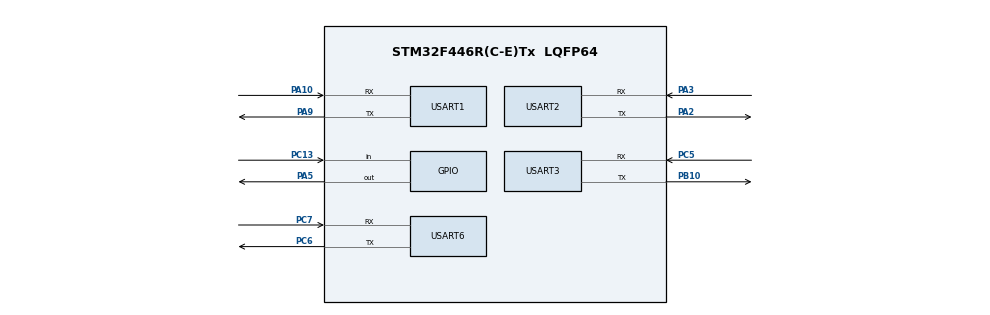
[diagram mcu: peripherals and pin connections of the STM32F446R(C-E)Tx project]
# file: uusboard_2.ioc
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Mcu.Family=STM32F4
Mcu.Name=STM32F446R(C-E)Tx
Mcu.Package=LQFP64
NVIC.PriorityGroup=NVIC_PRIORITYGROUP_4
NVIC.USART1_IRQn=true\:0\:0\:false\:false\:true
NVIC.USART3_IRQn=true\:0\:0\:false\:false\:true
PA10.Mode=Asynchronous
PA10.Signal=USART1_RX
PA2.Mode=Asynchronous
PA2.Signal=USART2_TX
PA3.Mode=Asynchronous
PA3.Signal=USART2_RX
PA5.Signal=GPIO_Output
PA9.Mode=Asynchronous
PA9.Signal=USART1_TX
PB10.Mode=Asynchronous
PB10.Signal=USART3_TX
PC13.Signal=GPIO_Input
PC5.Mode=Asynchronous
PC5.Signal=USART3_RX
PC6.Mode=Asynchronous
PC6.Signal=USART6_TX
PC7.Mode=Asynchronous
PC7.Signal=USART6_RX
ProjectManager.HeapSize=0x200
ProjectManager.StackSize=0x400
ProjectManager.TargetToolchain=MDK-ARM V5
RCC.CortexFreq_Value=16000000
RCC.USBFreq_Value=96000000
RCC.VCOOutputFreq_Value=192000000
board=uusboard_2

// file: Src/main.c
/**
  ******************************************************************************
  * File Name          : main.c
  * Description        : Main program body
  ******************************************************************************
  *
  * COPYRIGHT(c) 2017 STMicroelectronics
  *
  * Redistribution and use in source and binary forms, with or without modification,
  * are permitted provided that the following conditions are met:
  *   1. Redistributions of source code must retain the above copyright notice,
  *      this list of conditions and the following disclaimer.
  *   2. Redistributions in binary form must reproduce the above copyright notice,
  *      this list of conditions and the following disclaimer in the documentation
  *      and/or other materials provided with the distribution.
  *   3. Neither the name of STMicroelectronics nor the names of its contributors
  *      may be used to endorse or promote products derived from this software
  *      without specific prior written permission.
  *
  * THIS SOFTWARE IS PROVIDED BY THE COPYRIGHT HOLDERS AND CONTRIBUTORS "AS IS"
  * AND ANY EXPRESS OR IMPLIED WARRANTIES, INCLUDING, BUT NOT LIMITED TO, THE
  * IMPLIED WARRANTIES OF MERCHANTABILITY AND FITNESS FOR A PARTICULAR PURPOSE ARE
  * DISCLAIMED. IN NO EVENT SHALL THE COPYRIGHT HOLDER OR CONTRIBUTORS BE LIABLE
  * FOR ANY DIRECT, INDIRECT, INCIDENTAL, SPECIAL, EXEMPLARY, OR CONSEQUENTIAL
  * DAMAGES (INCLUDING, BUT NOT LIMITED TO, PROCUREMENT OF SUBSTITUTE GOODS OR
  * SERVICES; LOSS OF USE, DATA, OR PROFITS; OR BUSINESS INTERRUPTION) HOWEVER
  * CAUSED AND ON ANY THEORY OF LIABILITY, WHETHER IN CONTRACT, STRICT LIABILITY,
  * OR TORT (INCLUDING NEGLIGENCE OR OTHERWISE) ARISING IN ANY WAY OUT OF THE USE
  * OF THIS SOFTWARE, EVEN IF ADVISED OF THE POSSIBILITY OF SUCH DAMAGE.
  *
  ******************************************************************************
  */
#include "main.h"
#include "stm32f4xx_hal.h"

/* USER CODE BEGIN Includes */
#include "registers.h"
#include "stdbool.h"
#include "stm32f4xx_it.h"

/* USER CODE END Includes */

UART_HandleTypeDef huart1;
UART_HandleTypeDef huart2;
UART_HandleTypeDef huart3;
UART_HandleTypeDef huart6;

/* USER CODE BEGIN PV */
/* Private variables ---------------------------------------------------------*/
uint8_t CONFIG_temp_UnitSelection[5], CONFIG_temp_SourceSelection[5], CONFIG_Mode_Configuration[5], CONFIG_Mode_Accelerometer_Only[5], CONFIG_Mode_Magnetometer_Only[5], CONFIG_Mode_Gyroscope_Only[5], CONFIG_Mode_Accelerometer_Magnetometer[5], CONFIG_Mode_Accelerometer_Gyroscope[5];
uint8_t CONFIG_configurationPage_ID_0[5], CONFIG_configurationPage_ID_1[5], CONFIG_Mode_Magnetometer_Gyroscope[5], CONFIG_Mode_Accelerometer_Magnetometer_Gyroscope[5], CONFIG_Mode_Inertial_Measurement_Unit[5], CONFIG_Mode_Compass[5], CONFIG_Mode_Magnet_For_Compass[5], CONFIG_Mode_NDOF_FMC_OFF[5], CONFIG_Mode_NDOF[5];
uint8_t CONFIG_register_Page_0[5], CONFIG_register_Page_1[5];
uint8_t receivedDataUART[2], receivedDataUARTBuffer [32], sendDataReadInfo[4], sendDataUARTBuffer[10];
uint8_t transferUartBuffer[64];
uint8_t readDataSingleReadBuffer[5], readDataSingleWriteBuffer[5], CONFIG_accel_RangeSelection[5];
uint8_t dataToSendToReadSingleRegister[5];
int16_t acc_1_Z, acc_1_Y, acc_1_X, acc_2_Z, acc_2_Y, acc_2_X = 0;
int isitworking, dataruined = 0;
uint8_t acc_1_Z_MSB, acc_1_Z_LSB, acc_1_Y_MSB, acc_1_Y_LSB, acc_1_X_MSB, acc_1_X_LSB;
uint8_t acc_2_Z_MSB, acc_2_Z_LSB, acc_2_Y_MSB, acc_2_Y_LSB, acc_2_X_MSB, acc_2_X_LSB;
int temperature, data = 0;
uint8_t OFFSET_Z_MSB, OFFSET_Z_LSB, OFFSET_Y_MSB, OFFSET_Y_LSB, OFFSET_X_MSB, OFFSET_X_LSB;
int acc_X_offset, acc_Y_offset, acc_Z_offset;
uint8_t acc_1_X_LSB_OFFSET, acc_1_X_MSB_OFFSET, acc_1_Y_LSB_OFFSET, acc_1_Y_MSB_OFFSET, acc_1_Z_LSB_OFFSET, acc_1_Z_MSB_OFFSET;
uint8_t acc_2_X_LSB_OFFSET, acc_2_X_MSB_OFFSET, acc_2_Y_LSB_OFFSET, acc_2_Y_MSB_OFFSET, acc_2_Z_LSB_OFFSET, acc_2_Z_MSB_OFFSET;
int howManySeconds;
int Data_getReadDataSingleRegister;
bool config_error = false;
bool accel_error = false;
bool configureAccelerometerOffset_ERROR = false;
int howManySecondsTheButtonHasBeenHeld = 0;
uint8_t readDataSingleReceiveBuffer[5];
int variable;
uint8_t variable_old[6];
uint8_t variable_new[6];

/* USER CODE END PV */

void SystemClock_Config(void);
void Error_Handler(void);
static void MX_GPIO_Init(void);
static void MX_USART1_UART_Init(void);
static void MX_USART2_UART_Init(void);
static void MX_USART3_UART_Init(void);
static void MX_USART6_UART_Init(void);

/* USER CODE BEGIN PFP */
/* Private function prototypes -----------------------------------------------*/
#ifdef __GNUC__
	#define PUTCHAR_PROTOTYPE int __io_putchar (int ch)
#else
	#define PUTCHAR_PROTOTYPE int fputc(int ch, FILE *f)
#endif
/* USER CODE END PFP */

/* USER CODE BEGIN 0 */
PUTCHAR_PROTOTYPE{
	HAL_UART_Transmit(&huart2, (uint8_t *)&ch, 1, 0xFFFF);
	return ch;
}
void initUARTBuffer(){
	for (int i = 0; i <= 10; i++){
		sendDataUARTBuffer      [i] = 0x00;
	}

	for (int i = 0; i<= 2; i++){
		receivedDataUART  [i] = 0x00;
	}
}
bool setSingleRegister(UART_HandleTypeDef *huart, uint8_t dataToSend, uint8_t registerToSend ){
	bool error = false;
	int datareceive = 0;
  byte_received = 0;
	initUARTBuffer();

	sendDataUARTBuffer[0] = UART_START_BYTE;
	sendDataUARTBuffer[1] = UART_WRITE;
	sendDataUARTBuffer[2] = registerToSend;
	sendDataUARTBuffer[3] = 0x01;
	sendDataUARTBuffer[4] = dataToSend;

	HAL_UART_Transmit(huart, sendDataUARTBuffer, 5, 200);
    while (byte_received == 0){
        if (datareceive == 0){
            HAL_UART_Receive_IT(huart, receivedDataUART, 2);
            datareceive =1;
        }
    }
    if (receivedDataUART[0] == 0xEE && receivedDataUART[1] != 0x01){
        HAL_UART_Abort(huart);
        error = true;
    }
    if (byte_received == 1 && receivedDataUART[1] != 0xEE && receivedDataUART[1] !=0x00 && receivedDataUART[1] !=0x03){
        error = false;
    }

	return error;
}
int  readSingleRegister(UART_HandleTypeDef *huart, uint8_t registerToRead){
	byte_received = 0;
	int datareceive = 0;
	int data;

	dataToSendToReadSingleRegister [0] = UART_START_BYTE;
	dataToSendToReadSingleRegister [1] = UART_READ;
	dataToSendToReadSingleRegister [2] = registerToRead;
	dataToSendToReadSingleRegister [3] = 0x01;

	HAL_UART_Transmit(huart, dataToSendToReadSingleRegister, 4, 200);

	receivedDataUARTBuffer[0] = 0x00;
	receivedDataUARTBuffer[1] = 0x00;
	receivedDataUARTBuffer[2] = 0x00;

	while (byte_received == 0){
		if (datareceive == 0){
			HAL_UART_Receive_IT(huart, receivedDataUARTBuffer, 3);
			datareceive =1;
		}
		if (byte_received_time >= 1000){
			HAL_UART_Abort(huart);
			byte_received = 1;
			data = 999;
			return data;
		}
		if (receivedDataUARTBuffer[0] == 0xEE){
			HAL_UART_Abort(huart);
			byte_received = 1;
			data = 999;
			return data;
		}
		if (byte_received == 1){
			data = receivedDataUARTBuffer[2];
		}
	}

return data;
}
bool getWriteResonseData(UART_HandleTypeDef *huart){
	bool error      = false;
	byte_received   = 0;
	int datareceive = 0;

	receivedDataUART[0] = 0x00;
	receivedDataUART[1] = 0x00;

	while (byte_received == 0){
		if (datareceive == 0){
			HAL_UART_Receive_IT(huart, receivedDataUART, 2);
			datareceive = 1;
		}
	}
	if (receivedDataUART[0] == 0xEE && receivedDataUART[1] != 0x01){
		HAL_UART_Abort(huart);
		byte_received = 1;
		error = true;
		return error;
	}

 return error;
}
bool setRegisterMapPage_0(UART_HandleTypeDef *huart){
	bool error             = false;

	sendDataUARTBuffer [0] = UART_START_BYTE;
	sendDataUARTBuffer [1] = UART_WRITE;
	sendDataUARTBuffer [2] = PAGE_ID_ADDR;
	sendDataUARTBuffer [3] = 0x01;
	sendDataUARTBuffer [4] = 0x00;

	HAL_UART_Transmit(huart, sendDataUARTBuffer, 5, 200);

	error = getWriteResonseData(huart);
	if (error == true){
		HAL_UART_Transmit(huart, sendDataUARTBuffer, 5, 200);
		error = getWriteResonseData(huart);
	}

	return error;
}
bool setRegisterMapPage_1(UART_HandleTypeDef *huart){
	bool error;

	sendDataUARTBuffer [0] = UART_START_BYTE;
	sendDataUARTBuffer [1] = UART_WRITE;
	sendDataUARTBuffer [2] = PAGE_ID_ADDR;
	sendDataUARTBuffer [3] = 0x01;
	sendDataUARTBuffer [4] = 0x01;

	HAL_UART_Transmit(huart, sendDataUARTBuffer, 5, 200);

	error = getWriteResonseData(huart);
	if (error == true){
		HAL_UART_Transmit(huart, sendDataUARTBuffer, 5, 200);
		error = getWriteResonseData(huart);
	}

	return error;
}
void initializeConfigurationVariables(){
	CONFIG_register_Page_0														[0] = UART_START_BYTE;
	CONFIG_register_Page_0														[1] = UART_WRITE;
	CONFIG_register_Page_0														[2] = PAGE_ID_ADDR;
	CONFIG_register_Page_0														[3] = 0x01;
	CONFIG_register_Page_0														[4] = 0x00;

	CONFIG_register_Page_1														[0] = UART_START_BYTE;
	CONFIG_register_Page_1														[1] = UART_WRITE;
	CONFIG_register_Page_1														[2] = PAGE_ID_ADDR;
	CONFIG_register_Page_1														[3] = 0x01;
	CONFIG_register_Page_1														[4] = 0x01;

	CONFIG_temp_UnitSelection													[0] = UART_START_BYTE;
	CONFIG_temp_UnitSelection													[1] = UART_WRITE;
	CONFIG_temp_UnitSelection													[2] = UNIT_SEL_ADDR;
	CONFIG_temp_UnitSelection													[3] = 0x01;
	CONFIG_temp_UnitSelection													[4] = 0x00;

	CONFIG_configurationPage_ID_0											[0] = UART_START_BYTE;
	CONFIG_configurationPage_ID_0											[1] = UART_WRITE;
	CONFIG_configurationPage_ID_0											[2] = PAGE_ID_ADDR;
	CONFIG_configurationPage_ID_0											[3] = 0x01;
	CONFIG_configurationPage_ID_0											[4] = 0x00;

	CONFIG_configurationPage_ID_1											[0] = UART_START_BYTE;
	CONFIG_configurationPage_ID_1											[1] = UART_WRITE;
	CONFIG_configurationPage_ID_1											[2] = PAGE_ID_ADDR;
	CONFIG_configurationPage_ID_1											[3] = 0x01;
	CONFIG_configurationPage_ID_1											[4] = 0x01;

	CONFIG_accel_RangeSelection       								[0] = UART_START_BYTE;
	CONFIG_accel_RangeSelection												[1] = UART_WRITE;
	CONFIG_accel_RangeSelection   								    [2] = ACCEL_CONFIG_ADDR;
	CONFIG_accel_RangeSelection       								[3] = 0x01;
	CONFIG_accel_RangeSelection      							 		[4] = 0x12;

	CONFIG_temp_SourceSelection      							 	  [0]  = UART_START_BYTE;
	CONFIG_temp_SourceSelection     							    [1]  = UART_WRITE;
	CONFIG_temp_SourceSelection       	  						[2]  = TEMP_SOURCE_ADDR;
	CONFIG_temp_SourceSelection     	    						[3]  = 0x01;
	CONFIG_temp_SourceSelection       	  						[4]  = 0x00;

	CONFIG_Mode_Configuration 												[0] = UART_START_BYTE;
	CONFIG_Mode_Configuration 												[1] = UART_WRITE;
	CONFIG_Mode_Configuration 												[2] = OPR_MODE_ADDR;
	CONFIG_Mode_Configuration 												[3] = 0x01;
	CONFIG_Mode_Configuration 												[4] = 0x00;

	CONFIG_Mode_Accelerometer_Only 										[0] = UART_START_BYTE;
	CONFIG_Mode_Accelerometer_Only 										[1] = UART_WRITE;
	CONFIG_Mode_Accelerometer_Only 										[2] = OPR_MODE_ADDR;
	CONFIG_Mode_Accelerometer_Only 										[3] = 0x01;
	CONFIG_Mode_Accelerometer_Only 										[4] = 0x01;

	CONFIG_Mode_Magnetometer_Only 										[0] = UART_START_BYTE;
	CONFIG_Mode_Magnetometer_Only 										[1] = UART_WRITE;
	CONFIG_Mode_Magnetometer_Only 										[2] = OPR_MODE_ADDR;
	CONFIG_Mode_Magnetometer_Only 										[3] = 0x01;
	CONFIG_Mode_Magnetometer_Only 										[4] = 0x02;

	CONFIG_Mode_Gyroscope_Only 												[0] = UART_START_BYTE;
	CONFIG_Mode_Gyroscope_Only 	 											[1] = UART_WRITE;
	CONFIG_Mode_Gyroscope_Only 	 											[2] = OPR_MODE_ADDR;
	CONFIG_Mode_Gyroscope_Only 	 											[3] = 0x01;
	CONFIG_Mode_Gyroscope_Only 	 											[4] = 0x03;

	CONFIG_Mode_Accelerometer_Magnetometer						[0] = UART_START_BYTE;
	CONFIG_Mode_Accelerometer_Magnetometer 						[1] = UART_WRITE;
	CONFIG_Mode_Accelerometer_Magnetometer 						[2] = OPR_MODE_ADDR;
	CONFIG_Mode_Accelerometer_Magnetometer 						[3] = 0x01;
	CONFIG_Mode_Accelerometer_Magnetometer 						[4] = 0x04;

	CONFIG_Mode_Accelerometer_Gyroscope 							[0] = UART_START_BYTE;
	CONFIG_Mode_Accelerometer_Gyroscope 						 	[1] = UART_WRITE;
	CONFIG_Mode_Accelerometer_Gyroscope 	 						[2] = OPR_MODE_ADDR;
	CONFIG_Mode_Accelerometer_Gyroscope 	 						[3] = 0x01;
	CONFIG_Mode_Accelerometer_Gyroscope						 	 	[4] = 0x05;

	CONFIG_Mode_Magnetometer_Gyroscope 								[0] = UART_START_BYTE;
	CONFIG_Mode_Magnetometer_Gyroscope 				 				[1] = UART_WRITE;
	CONFIG_Mode_Magnetometer_Gyroscope 				 				[2] = OPR_MODE_ADDR;
	CONFIG_Mode_Magnetometer_Gyroscope 				 				[3] = 0x01;
	CONFIG_Mode_Magnetometer_Gyroscope			 	 				[4] = 0x06;

	CONFIG_Mode_Accelerometer_Magnetometer_Gyroscope	[0] = UART_START_BYTE;
	CONFIG_Mode_Accelerometer_Magnetometer_Gyroscope 	[1] = UART_WRITE;
	CONFIG_Mode_Accelerometer_Magnetometer_Gyroscope 	[2] = OPR_MODE_ADDR;
	CONFIG_Mode_Accelerometer_Magnetometer_Gyroscope 	[3] = 0x01;
	CONFIG_Mode_Accelerometer_Magnetometer_Gyroscope 	[4] = 0x07;

	CONFIG_Mode_Inertial_Measurement_Unit 						[0] = UART_START_BYTE;
	CONFIG_Mode_Inertial_Measurement_Unit 	 					[1] = UART_WRITE;
	CONFIG_Mode_Inertial_Measurement_Unit 	 					[2] = OPR_MODE_ADDR;
	CONFIG_Mode_Inertial_Measurement_Unit 	 					[3] = 0x01;
	CONFIG_Mode_Inertial_Measurement_Unit 	 					[4] = 0x08;

	CONFIG_Mode_Compass 															[0] = UART_START_BYTE;
	CONFIG_Mode_Compass 			 												[1] = UART_WRITE;
	CONFIG_Mode_Compass											 			 		[2] = OPR_MODE_ADDR;
	CONFIG_Mode_Compass											 			 		[3] = 0x01;
	CONFIG_Mode_Compass											 			 		[4] = 0x09;

	CONFIG_Mode_Magnet_For_Compass			 							[0] = UART_START_BYTE;
	CONFIG_Mode_Magnet_For_Compass			 	 						[1] = UART_WRITE;
	CONFIG_Mode_Magnet_For_Compass			 	 						[2] = OPR_MODE_ADDR;
	CONFIG_Mode_Magnet_For_Compass			 	 						[3] = 0x01;
	CONFIG_Mode_Magnet_For_Compass			 	 						[4] = 0x0A;

	CONFIG_Mode_NDOF_FMC_OFF													[0] = UART_START_BYTE;
	CONFIG_Mode_NDOF_FMC_OFF 												 	[1] = UART_WRITE;
	CONFIG_Mode_NDOF_FMC_OFF											 	 	[2] = OPR_MODE_ADDR;
	CONFIG_Mode_NDOF_FMC_OFF											 	 	[3] = 0x01;
	CONFIG_Mode_NDOF_FMC_OFF											 	 	[4] = 0x0B;

	CONFIG_Mode_NDOF 																	[0] = UART_START_BYTE;
	CONFIG_Mode_NDOF																 	[1] = UART_WRITE;
	CONFIG_Mode_NDOF 																	[2] = OPR_MODE_ADDR;
	CONFIG_Mode_NDOF 																	[3] = 0x01;
	CONFIG_Mode_NDOF 																	[4] = 0x0C;

}
void printAccelData(){
	printf("1. X = %d, Y = %d, Z = %d || 2. X = X = %d, Y = %d, Z = %d \n", acc_1_X , acc_1_Y, acc_1_Z, acc_2_X, acc_2_Y, acc_2_Z);
}
void accDataConversion(){
	acc_1_X = (acc_1_X_MSB << 8) | acc_1_X_LSB;
	acc_1_Y = (acc_1_Y_MSB << 8) | acc_1_Y_LSB;
	acc_1_Z = (acc_1_Z_MSB << 8) | acc_1_Z_LSB;

	acc_2_X = (acc_2_X_MSB << 8) | acc_2_X_LSB;
	acc_2_Y = (acc_2_Y_MSB << 8) | acc_2_Y_LSB;
	acc_2_Z = (acc_2_Z_MSB << 8) | acc_2_Z_LSB;
}
void HAL_UART_RxCpltCallback (UART_HandleTypeDef *huart){
	byte_received = 1;
}

int  getReadData(UART_HandleTypeDef *huart){

	byte_received = 0;
	data			= 0;
	int datareceive = 0;

	receivedDataUARTBuffer[0] = 0x00;
	receivedDataUARTBuffer[1] = 0x00;
	receivedDataUARTBuffer[2] = 0x00;

	while (byte_received == 0){
		if (datareceive == 0){
			HAL_UART_Receive_IT(huart, receivedDataUARTBuffer, 3);
			datareceive =1;
		}
		if (receivedDataUARTBuffer[0] == 0xEE && receivedDataUARTBuffer[1] != 0x00){
			HAL_UART_Abort(huart);
			byte_received = 1;
			data = 999;
			return data;
		}
		if (byte_received == 1){
			data = receivedDataUARTBuffer[2];
		}
	}

 return data;
}

int  getTemperature(){

	int data = 0;
	sendDataReadInfo			 [0] = UART_START_BYTE;
	sendDataReadInfo			 [1] = UART_READ;
	sendDataReadInfo			 [2] = TEMP_ADDR;
	sendDataReadInfo			 [3] = 0x01;

	HAL_UART_Transmit	(&huart1, sendDataReadInfo, 4, 200);

	data = getReadData(&huart1);

	return data;
}
bool sendConfigurationSettings(UART_HandleTypeDef *huart, uint8_t *dataToSend, int howManyBytes, int delay) {
    byte_received   = 0;
    int datareceive = 0;
    bool data       = false;
    receivedDataUART [0] = 0x00;
    receivedDataUART [1] = 0x00;
	  byte_received_time_wait = 0;
    HAL_UART_Transmit(huart, dataToSend, howManyBytes, delay);
    while (byte_received == 0){
        if (datareceive == 0){
          HAL_UART_Receive_IT(huart, receivedDataUART, 2);
          datareceive = 1;
					byte_received_time_wait = 1;
        }
				if (byte_received_time >= 2000 && byte_received == 0){
					HAL_UART_Abort(huart);
					byte_received = 1;
					byte_received_time_wait = 0;
					data = true;
				}
    }
    if (receivedDataUART[0] == 0xEE && receivedDataUART[1] != 0x01){
        HAL_UART_Abort(huart);
        data = true;
    }
    if (byte_received == 1 && receivedDataUART[1] != 0xEE && receivedDataUART[1] !=0x00 && receivedDataUART[1] !=0x03){
        data = false;
		}

return data;
}
bool getAccelerometerData (UART_HandleTypeDef *huart){
	HAL_UART_Abort(huart);
	bool error = false;
 sendDataReadInfo    [0] = UART_START_BYTE;
 sendDataReadInfo    [1] = UART_READ;
 sendDataReadInfo    [2] = ACCEL_DATA_X_LSB_ADDR;
 sendDataReadInfo    [3] = 0x06;

 HAL_UART_Transmit(huart, sendDataReadInfo, 4,50);

 byte_received = 0;
 data   = 0;

 receivedDataUARTBuffer[0] = 0x00;
 receivedDataUARTBuffer[1] = 0x00;
 receivedDataUARTBuffer[2] = 0x00;

		HAL_UART_Receive_IT(huart, receivedDataUARTBuffer, 8);

while (byte_received == 0){
	if (receivedDataUARTBuffer[0] == 0xEE && receivedDataUARTBuffer[1] != 0x00){
		HAL_UART_Abort(huart);
		byte_received = 1;
		error = true;
		return error;
 }
}
if (byte_received == 1 && huart == &huart1){
	acc_1_X_LSB = receivedDataUARTBuffer[2];
	acc_1_X_MSB = receivedDataUARTBuffer[3];

	acc_1_Y_LSB = receivedDataUARTBuffer[4];
	acc_1_Y_MSB = receivedDataUARTBuffer[5];

	acc_1_Z_LSB = receivedDataUARTBuffer[6];
	acc_1_Z_MSB = receivedDataUARTBuffer[7];
 }

if (byte_received == 1 && huart == &huart3){
	acc_2_X_LSB = receivedDataUARTBuffer[2];
	acc_2_X_MSB = receivedDataUARTBuffer[3];

	acc_2_Y_LSB = receivedDataUARTBuffer[4];
	acc_2_Y_MSB = receivedDataUARTBuffer[5];

	acc_2_Z_LSB = receivedDataUARTBuffer[6];
	acc_2_Z_MSB = receivedDataUARTBuffer[7];
 }

 return error;

}
void initConfigurationSettings_Acc1(){
	if (config_error == false){
		if (config_error == false){
			config_error = sendConfigurationSettings(&huart1, CONFIG_Mode_Configuration, 5, 200);
		}
		if (config_error == false){
			config_error = setRegisterMapPage_0(&huart1);
		}
		if (config_error == false){
			acc_1_X_LSB_OFFSET = readSingleRegister(&huart1, ACCEL_OFFSET_X_LSB_ADDR);
			acc_1_X_MSB_OFFSET = readSingleRegister(&huart1, ACCEL_OFFSET_X_MSB_ADDR);

			acc_1_Y_LSB_OFFSET = readSingleRegister(&huart1, ACCEL_OFFSET_Y_LSB_ADDR);
			acc_1_Y_MSB_OFFSET = readSingleRegister(&huart1, ACCEL_OFFSET_Y_MSB_ADDR);

			acc_1_Z_LSB_OFFSET = readSingleRegister(&huart1, ACCEL_OFFSET_Z_LSB_ADDR);
			acc_1_Z_MSB_OFFSET = readSingleRegister(&huart1, ACCEL_OFFSET_Z_MSB_ADDR);
		}

		if (config_error == false){
			config_error = sendConfigurationSettings(&huart1, CONFIG_configurationPage_ID_1, 5, 200);
		}
		if (config_error == false){
			config_error = sendConfigurationSettings(&huart1, CONFIG_accel_RangeSelection, 5, 200);
		}
		if (config_error == false){
			config_error = sendConfigurationSettings(&huart1, CONFIG_configurationPage_ID_0, 5, 200);
		}
		if (config_error == false){
			config_error = setRegisterMapPage_1(&huart1);
		}
		data = readSingleRegister(&huart1, 0x08);
		if (config_error == false){
			config_error = setRegisterMapPage_0(&huart1);
		}
		if (config_error == false){
			config_error = sendConfigurationSettings(&huart1, CONFIG_Mode_Accelerometer_Only , 5, 200);
		}
	}
}
void initConfigurationSettings_Acc2(){
	if (config_error == false){
		if (config_error == false){
			config_error = sendConfigurationSettings(&huart3, CONFIG_Mode_Configuration, 5, 200);
		}
		if (config_error == false){
			config_error = sendConfigurationSettings(&huart3, CONFIG_configurationPage_ID_0, 5, 200);
		}
		if (config_error == false){
			acc_1_X_LSB_OFFSET = readSingleRegister(&huart3, ACCEL_OFFSET_X_LSB_ADDR);
			acc_1_X_MSB_OFFSET = readSingleRegister(&huart3, ACCEL_OFFSET_X_MSB_ADDR);

			acc_1_Y_LSB_OFFSET = readSingleRegister(&huart3, ACCEL_OFFSET_Y_LSB_ADDR);
			acc_1_Y_MSB_OFFSET = readSingleRegister(&huart3, ACCEL_OFFSET_Y_MSB_ADDR);

			acc_1_Z_LSB_OFFSET = readSingleRegister(&huart3, ACCEL_OFFSET_Z_LSB_ADDR);
			acc_1_Z_MSB_OFFSET = readSingleRegister(&huart3, ACCEL_OFFSET_Z_MSB_ADDR);
		}

		if (config_error == false){
			config_error = sendConfigurationSettings(&huart3, CONFIG_configurationPage_ID_1, 5, 200);
		}
		if (config_error == false){
			config_error = sendConfigurationSettings(&huart3, CONFIG_accel_RangeSelection, 5, 200);
		}
		if (config_error == false){
			config_error = sendConfigurationSettings(&huart3, CONFIG_configurationPage_ID_0, 5, 200);
		}
		if (config_error == false){
			config_error = setRegisterMapPage_1(&huart3);
		}
		data = readSingleRegister(&huart3, 0x08);
		if (config_error == false){
			config_error = setRegisterMapPage_0(&huart3);
		}
		if (config_error == false){
			config_error = sendConfigurationSettings(&huart3, CONFIG_Mode_Accelerometer_Only , 5, 200);
		}
	}
}
bool setAccelerometerOffset(UART_HandleTypeDef *huart){
	HAL_GPIO_WritePin(GPIOA, GPIO_PIN_5, GPIO_PIN_SET);
	bool hasXDataBeenReceived = false;
	bool hasYDataBeenReceived = false;
	bool hasZDataBeenReceived = false;
  bool error = false;
	bool hasAccelerometerBeenConfigured = false;
	HAL_Delay(2000);
	buttonState = HAL_GPIO_ReadPin(GPIOC, GPIO_PIN_13);
	receivedDataUART[0] = 0x00;
	receivedDataUART[1] = 0x00;

	//<BUTTON TOGGLE>
	while (hasAccelerometerBeenConfigured == false){
		TIME_FreeUse = 0;
		HAL_Delay(500);

		while (hasXDataBeenReceived == false){
			buttonState = HAL_GPIO_ReadPin(GPIOC, GPIO_PIN_13);

			if (TIME_FreeUse >= 1000){
				HAL_GPIO_TogglePin(GPIOA, GPIO_PIN_5);
				TIME_FreeUse = 0;
			}

			getAccelerometerData(huart);
			accDataConversion();
			printAccelData();

			if (buttonState == 0){
				OFFSET_X_LSB = acc_1_X_LSB;
				OFFSET_X_MSB = acc_1_X_MSB;
				hasXDataBeenReceived = true;
			}
		}
		HAL_Delay(500);

		while (hasYDataBeenReceived == false){
			buttonState = HAL_GPIO_ReadPin(GPIOC, GPIO_PIN_13);

			if (TIME_FreeUse >= 400){
				HAL_GPIO_TogglePin(GPIOA, GPIO_PIN_5);
				TIME_FreeUse = 0;
			}

			getAccelerometerData(huart);
			accDataConversion();
			printAccelData();

			if (buttonState == 0){
				OFFSET_Y_LSB = acc_1_Y_LSB;
				OFFSET_Y_MSB = acc_1_Y_MSB;
				hasYDataBeenReceived = true;
			}
		}
		HAL_Delay(500);

		while (hasZDataBeenReceived == false){
			buttonState = HAL_GPIO_ReadPin(GPIOC, GPIO_PIN_13);

			if (TIME_FreeUse >= 100){
				HAL_GPIO_TogglePin(GPIOA, GPIO_PIN_5);
				TIME_FreeUse = 0;
			}

			getAccelerometerData(huart);
			accDataConversion();
			printAccelData();

			if (buttonState == 0){
				OFFSET_Z_LSB = acc_1_Z_LSB;
				OFFSET_Z_MSB = acc_1_Z_MSB;
				hasZDataBeenReceived = true;
			}
		}

		if (hasXDataBeenReceived == true && hasYDataBeenReceived == true && hasZDataBeenReceived == true){
			hasAccelerometerBeenConfigured = true;
		}

	}

	//</BUTTON TOGGLE>

	error = setRegisterMapPage_0(&huart1);
	error = setSingleRegister(&huart1, 0x00, OPR_MODE_ADDR);

	sendDataUARTBuffer[0] = UART_START_BYTE;
	sendDataUARTBuffer[1] = UART_WRITE;
	sendDataUARTBuffer[2] = ACCEL_OFFSET_X_LSB_ADDR;
	sendDataUARTBuffer[3] = 0x06;
	sendDataUARTBuffer[4] = OFFSET_X_LSB;
	sendDataUARTBuffer[5] = OFFSET_X_MSB;
	sendDataUARTBuffer[6] = OFFSET_Y_LSB;
	sendDataUARTBuffer[7] = OFFSET_Y_MSB;
	sendDataUARTBuffer[8] = OFFSET_Z_LSB;
	sendDataUARTBuffer[9] = OFFSET_Z_MSB;

	error = sendConfigurationSettings(huart, sendDataUARTBuffer, 10, 200);
	HAL_Delay(1000);
	error = sendConfigurationSettings(huart, CONFIG_Mode_Accelerometer_Only, 5, 200);
	HAL_Delay(1000);

	return error;
}

/* USER CODE END 0 */

int main(void)
{

  /* USER CODE BEGIN 1 */
	initializeConfigurationVariables();
  /* USER CODE END 1 */

  /* MCU Configuration----------------------------------------------------------*/

  /* Reset of all peripherals, Initializes the Flash interface and the Systick. */
  HAL_Init();

  /* Configure the system clock */
  SystemClock_Config();

  /* Initialize all configured peripherals */
  MX_GPIO_Init();
  MX_USART1_UART_Init();
  MX_USART2_UART_Init();
  MX_USART3_UART_Init();
  MX_USART6_UART_Init();

  /* USER CODE BEGIN 2 */
	//CONFIGURATION SETTINGS
	HAL_Delay(1000);
	initConfigurationSettings_Acc1();
	initConfigurationSettings_Acc2();
	HAL_Delay(500);

	//If there was an error during configuration, LD2 will be lit.
	if (config_error == true){
		HAL_GPIO_WritePin(GPIOA, GPIO_PIN_5, GPIO_PIN_SET);
	}

  /* USER CODE END 2 */

  /* Infinite loop */
  /* USER CODE BEGIN WHILE */
  howManyMilliSeconds = 0;
	howManyMilliSecondsTheButtonHasBeenHeld = 0;

	while (1)
  {
  /* USER CODE END WHILE */

  /* USER CODE BEGIN 3 */
	//temperature  = getTemperature();
	accel_error  = getAccelerometerData(&huart1);
	if (accel_error == false){
		accel_error = getAccelerometerData(&huart3);
	}

	dataruined = 0;

	if (accel_error == false ){
		accDataConversion();
	}
  else {
		dataruined = 1;
	}

	buttonState = HAL_GPIO_ReadPin(GPIOC, GPIO_PIN_13);

	printAccelData();
	isitworking++;

	howManySeconds = (howManyMilliSeconds / 1000);

  howManySecondsTheButtonHasBeenHeld = 	howManyMilliSecondsTheButtonHasBeenHeld / 1000;

	if (howManySecondsTheButtonHasBeenHeld >= 5){
		configureAccelerometerOffset_ERROR = setAccelerometerOffset(&huart1);
	}
	else{
		HAL_GPIO_WritePin(GPIOA, GPIO_PIN_5, GPIO_PIN_RESET);
	}
}
  /* USER CODE END 3 */

}

/** System Clock Configuration
*/
void SystemClock_Config(void)
{

  RCC_OscInitTypeDef RCC_OscInitStruct;
  RCC_ClkInitTypeDef RCC_ClkInitStruct;

    /**Configure the main internal regulator output voltage
    */
  __HAL_RCC_PWR_CLK_ENABLE();

  __HAL_PWR_VOLTAGESCALING_CONFIG(PWR_REGULATOR_VOLTAGE_SCALE3);

    /**Initializes the CPU, AHB and APB busses clocks
    */
  RCC_OscInitStruct.OscillatorType = RCC_OSCILLATORTYPE_HSI;
  RCC_OscInitStruct.HSIState = RCC_HSI_ON;
  RCC_OscInitStruct.HSICalibrationValue = 16;
  RCC_OscInitStruct.PLL.PLLState = RCC_PLL_NONE;
  if (HAL_RCC_OscConfig(&RCC_OscInitStruct) != HAL_OK)
  {
    Error_Handler();
  }

    /**Initializes the CPU, AHB and APB busses clocks
    */
  RCC_ClkInitStruct.ClockType = RCC_CLOCKTYPE_HCLK|RCC_CLOCKTYPE_SYSCLK
                              |RCC_CLOCKTYPE_PCLK1|RCC_CLOCKTYPE_PCLK2;
  RCC_ClkInitStruct.SYSCLKSource = RCC_SYSCLKSOURCE_HSI;
  RCC_ClkInitStruct.AHBCLKDivider = RCC_SYSCLK_DIV1;
  RCC_ClkInitStruct.APB1CLKDivider = RCC_HCLK_DIV1;
  RCC_ClkInitStruct.APB2CLKDivider = RCC_HCLK_DIV1;

  if (HAL_RCC_ClockConfig(&RCC_ClkInitStruct, FLASH_LATENCY_0) != HAL_OK)
  {
    Error_Handler();
  }

    /**Configure the Systick interrupt time
    */
  HAL_SYSTICK_Config(HAL_RCC_GetHCLKFreq()/1000);

    /**Configure the Systick
    */
  HAL_SYSTICK_CLKSourceConfig(SYSTICK_CLKSOURCE_HCLK);

  /* SysTick_IRQn interrupt configuration */
  HAL_NVIC_SetPriority(SysTick_IRQn, 0, 0);
}

/* USART1 init function */
static void MX_USART1_UART_Init(void)
{

  huart1.Instance = USART1;
  huart1.Init.BaudRate = 115200;
  huart1.Init.WordLength = UART_WORDLENGTH_8B;
  huart1.Init.StopBits = UART_STOPBITS_1;
  huart1.Init.Parity = UART_PARITY_NONE;
  huart1.Init.Mode = UART_MODE_TX_RX;
  huart1.Init.HwFlowCtl = UART_HWCONTROL_NONE;
  huart1.Init.OverSampling = UART_OVERSAMPLING_16;
  if (HAL_UART_Init(&huart1) != HAL_OK)
  {
    Error_Handler();
  }

}

/* USART2 init function */
static void MX_USART2_UART_Init(void)
{

  huart2.Instance = USART2;
  huart2.Init.BaudRate = 115200;
  huart2.Init.WordLength = UART_WORDLENGTH_8B;
  huart2.Init.StopBits = UART_STOPBITS_1;
  huart2.Init.Parity = UART_PARITY_NONE;
  huart2.Init.Mode = UART_MODE_TX_RX;
  huart2.Init.HwFlowCtl = UART_HWCONTROL_NONE;
  huart2.Init.OverSampling = UART_OVERSAMPLING_16;
  if (HAL_UART_Init(&huart2) != HAL_OK)
  {
    Error_Handler();
  }

}

/* USART3 init function */
static void MX_USART3_UART_Init(void)
{

  huart3.Instance = USART3;
  huart3.Init.BaudRate = 115200;
  huart3.Init.WordLength = UART_WORDLENGTH_8B;
  huart3.Init.StopBits = UART_STOPBITS_1;
  huart3.Init.Parity = UART_PARITY_NONE;
  huart3.Init.Mode = UART_MODE_TX_RX;
  huart3.Init.HwFlowCtl = UART_HWCONTROL_NONE;
  huart3.Init.OverSampling = UART_OVERSAMPLING_16;
  if (HAL_UART_Init(&huart3) != HAL_OK)
  {
    Error_Handler();
  }

}

/* USART6 init function */
static void MX_USART6_UART_Init(void)
{

  huart6.Instance = USART6;
  huart6.Init.BaudRate = 115200;
  huart6.Init.WordLength = UART_WORDLENGTH_8B;
  huart6.Init.StopBits = UART_STOPBITS_1;
  huart6.Init.Parity = UART_PARITY_NONE;
  huart6.Init.Mode = UART_MODE_TX_RX;
  huart6.Init.HwFlowCtl = UART_HWCONTROL_NONE;
  huart6.Init.OverSampling = UART_OVERSAMPLING_16;
  if (HAL_UART_Init(&huart6) != HAL_OK)
  {
    Error_Handler();
  }

}

/** Configure pins as
        * Analog
        * Input
        * Output
        * EVENT_OUT
        * EXTI
*/
static void MX_GPIO_Init(void)
{

  GPIO_InitTypeDef GPIO_InitStruct;

  /* GPIO Ports Clock Enable */
  __HAL_RCC_GPIOC_CLK_ENABLE();
  __HAL_RCC_GPIOA_CLK_ENABLE();
  __HAL_RCC_GPIOB_CLK_ENABLE();

  /*Configure GPIO pin Output Level */
  HAL_GPIO_WritePin(GPIOA, GPIO_PIN_5, GPIO_PIN_RESET);

  /*Configure GPIO pin : PC13 */
  GPIO_InitStruct.Pin = GPIO_PIN_13;
  GPIO_InitStruct.Mode = GPIO_MODE_INPUT;
  GPIO_InitStruct.Pull = GPIO_NOPULL;
  HAL_GPIO_Init(GPIOC, &GPIO_InitStruct);

  /*Configure GPIO pin : PA5 */
  GPIO_InitStruct.Pin = GPIO_PIN_5;
  GPIO_InitStruct.Mode = GPIO_MODE_OUTPUT_PP;
  GPIO_InitStruct.Pull = GPIO_NOPULL;
  GPIO_InitStruct.Speed = GPIO_SPEED_FREQ_LOW;
  HAL_GPIO_Init(GPIOA, &GPIO_InitStruct);

}

void Error_Handler(void)
{
  while(1)
  {
  }
}

/************************ (C) COPYRIGHT STMicroelectronics *****END OF FILE****/
